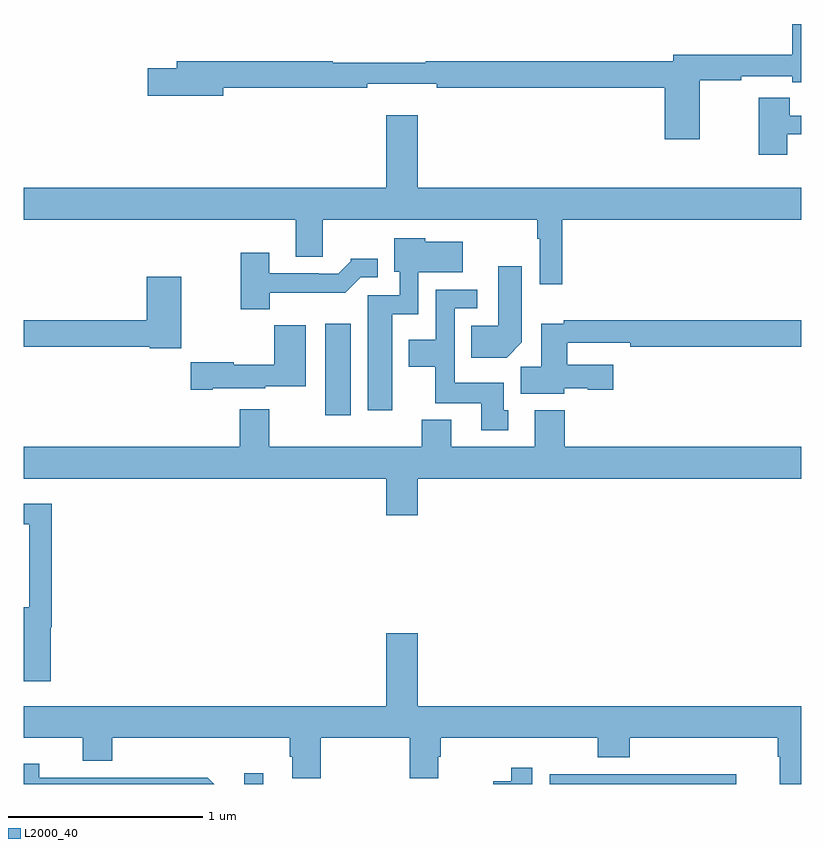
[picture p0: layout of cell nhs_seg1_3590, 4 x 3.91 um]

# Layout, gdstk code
import gdstk
lib = gdstk.Library(unit=1e-6, precision=1e-09)
def R(c, l, rs):  # rectangles x0, y0, x1, y1
    for r in rs: c.add(gdstk.rectangle(r[:2], r[2:], *l))
def P(c, l, *ps):  # polygons
    for p in ps: c.add(gdstk.Polygon(p, *l))
L2000_40 = (2000, 40)

nhs_seg1_3590 = lib.new_cell('nhs_seg1_3590')
R(nhs_seg1_3590, L2000_40, [(308.136,514.199,308.233,514.255), (308.552,516.096,308.683,516.565)])
P(nhs_seg1_3590, L2000_40, [(310.476,517.819),(310.691,517.819),(310.691,517.839),(310.952,517.839),(310.952,517.808),(311,517.808),(311,518.107),(310.952,518.107),(310.952,517.948),(310.34,517.948),(310.34,517.916),(309.068,517.916),(309.068,517.909),(308.591,517.909),(308.591,517.916),(307.787,517.916),(307.787,517.88),(307.638,517.88),(307.638,517.738),(308.026,517.738),(308.026,517.78),(308.768,517.78),(308.768,517.799),(309.124,517.799),(309.124,517.78),(310.298,517.78),(310.298,517.515),(310.476,517.515)],
  [(310.927,517.539),(311,517.539),(311,517.636),(310.939,517.636),(310.939,517.729),(310.78,517.729),(310.78,517.434),(310.927,517.434)],
  [(309.77,517.1),(311,517.1),(311,517.264),(309.028,517.264),(309.028,517.639),(308.864,517.639),(308.864,517.264),(307,517.264),(307,517.1),(308.399,517.1),(308.399,516.91),(308.539,516.91),(308.539,517.1),(309.642,517.1),(309.642,517.004),(309.654,517.004),(309.654,516.768),(309.77,516.768)],
  [(308.896,516.614),(309.03,516.614),(309.03,516.83),(309.259,516.83),(309.259,516.988),(309.066,516.988),(309.066,517.006),(308.906,517.006),(308.906,516.834),(308.934,516.834),(308.934,516.711),(308.771,516.711),(308.771,516.12),(308.896,516.12)],
  [(308.266,516.726),(308.655,516.726),(308.733,516.804),(308.821,516.804),(308.821,516.901),(308.682,516.901),(308.682,516.886),(308.618,516.822),(308.519,516.822),(308.519,516.825),(308.263,516.825),(308.263,516.931),(308.116,516.931),(308.116,516.641),(308.266,516.641)],
  [(309.562,516.47),(309.562,516.862),(309.44,516.862),(309.44,516.556),(309.301,516.556),(309.301,516.392),(309.484,516.392)],
  [(307.812,516.808),(307.634,516.808),(307.634,516.584),(307,516.584),(307,516.448),(307.65,516.448),(307.65,516.44),(307.812,516.44)],
  [(309.493,516.12),(309.469,516.12),(309.469,516.262),(309.216,516.262),(309.216,516.645),(309.334,516.645),(309.334,516.741),(309.12,516.741),(309.12,516.484),(308.981,516.484),(308.981,516.344),(309.118,516.344),(309.118,516.158),(309.353,516.158),(309.353,516.018),(309.493,516.018)],
  [(309.78,516.233),(309.9,516.233),(309.9,516.226),(310.033,516.226),(310.033,516.355),(309.797,516.355),(309.797,516.468),(310.12,516.468),(310.12,516.448),(311,516.448),(311,516.584),(309.778,516.584),(309.778,516.566),(309.662,516.566),(309.662,516.344),(309.557,516.344),(309.557,516.206),(309.78,516.206)],
  [(307.972,516.233),(308.244,516.233),(308.244,516.245),(308.452,516.245),(308.452,516.559),(308.29,516.559),(308.29,516.355),(308.082,516.355),(308.082,516.368),(307.86,516.368),(307.86,516.226),(307.972,516.226)],
  [(309.028,515.768),(311,515.768),(311,515.932),(309.782,515.932),(309.782,516.121),(309.629,516.121),(309.629,515.932),(309.199,515.932),(309.199,516.073),(309.047,516.073),(309.047,515.932),(308.263,515.932),(308.263,516.127),(308.111,516.127),(308.111,515.932),(307,515.932),(307,515.768),(308.864,515.768),(308.864,515.58),(309.028,515.58)],
  [(307.139,515.006),(307.145,515.006),(307.145,515.641),(307,515.641),(307,515.535),(307.029,515.535),(307.029,515.109),(307,515.109),(307,514.728),(307.139,514.728)],
  [(311,514.6),(309.028,514.6),(309.028,514.975),(308.864,514.975),(308.864,514.6),(307,514.6),(307,514.436),(307.304,514.436),(307.304,514.319),(307.457,514.319),(307.457,514.436),(308.369,514.436),(308.369,514.338),(308.381,514.338),(308.381,514.228),(308.529,514.228),(308.529,514.436),(308.986,514.436),(308.986,514.228),(309.133,514.228),(309.133,514.338),(309.146,514.338),(309.146,514.436),(309.953,514.436),(309.953,514.337),(310.118,514.337),(310.118,514.436),(310.877,514.436),(310.877,514.34),(310.889,514.34),(310.889,514.199),(311,514.199)],
  [(307.948,514.232),(307.54,514.232),(307.54,514.23),(307.08,514.23),(307.08,514.303),(307,514.303),(307,514.199),(307.981,514.199)],
  [(309.615,514.282),(309.507,514.282),(309.507,514.212),(309.414,514.212),(309.414,514.199),(309.615,514.199)],
  [(310.665,514.25),(310.201,514.25),(310.201,514.248),(309.705,514.248),(309.705,514.199),(310.665,514.199)])

lib.write_gds('nhs_seg1_3590.gds')
